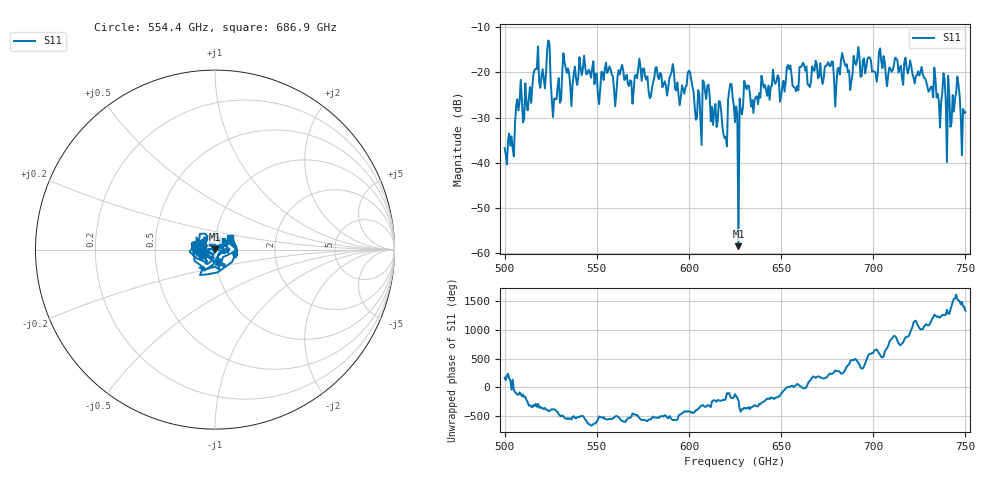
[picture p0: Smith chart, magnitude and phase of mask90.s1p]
!Created with skrf (http://scikit-rf.org).
# GHz S MA R 50.0
!freq magS11 angS11
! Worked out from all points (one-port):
!   401 points, 500 GHz to 750 GHz, reference 50 ohm
!   lowest |S11| = -58.5 dB at 626.9 GHz (marker M1), VSWR 1.00, Z = 49.9 + j0.0923 ohm
!   |S11| at or under -10 dB: start of sweep to end of sweep
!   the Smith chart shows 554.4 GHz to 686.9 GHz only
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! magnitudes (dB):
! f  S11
! 500 GHz  -36.8
! 516.9 GHz  -19.2
! 520.6 GHz  -19.3
! 523.8 GHz  -12.9
! 526.9 GHz  -25.8
! 531.2 GHz  -20.3
! 562.5 GHz  -20.4
! 579.4 GHz  -25.3
! 590.6 GHz  -19.8
! 593.8 GHz  -22.2
! 600.6 GHz  -20.0
! 605.6 GHz  -24.8
! 609.4 GHz  -25.9
! 619.4 GHz  -34.6
! 622.5 GHz  -22.5
! 625 GHz  -31.0
! 625.6 GHz  -27.5
! 626.9 GHz  -58.5
! 631.2 GHz  -23.7
! 635 GHz  -29.0
! 656.2 GHz  -23.0
! 676.9 GHz  -18.6
! 680 GHz  -22.7
! 683.8 GHz  -16.9
! 687.5 GHz  -23.9
! 690.6 GHz  -18.3
! 718.8 GHz  -20.2
! 750 GHz  -28.8
